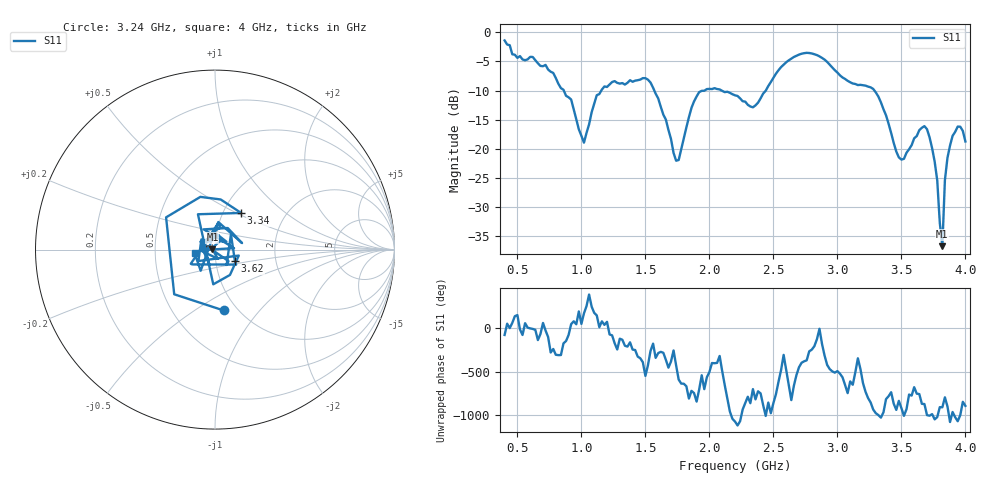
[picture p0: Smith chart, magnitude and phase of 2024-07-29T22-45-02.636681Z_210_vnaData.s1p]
!Created with skrf (http://scikit-rf.org).
# Hz S RI R 50.0
!freq ReS11 ImS11
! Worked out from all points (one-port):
!   181 points, 400 MHz to 4 GHz, reference 50 ohm
!   lowest |S11| = -36.7 dB at 3.82 GHz (marker M1), VSWR 1.03, Z = 48.6 + j0.164 ohm
!   |S11| at or under -10 dB: 1.57 GHz to 1.962 GHz (392.4 MHz wide, 22.2 % of centre); 2.096 GHz to 2.441 GHz (344.6 MHz wide, 15.2 % of centre); 3.289 GHz to end of sweep (the widest 3 of 4)
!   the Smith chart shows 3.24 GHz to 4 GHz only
!   S11 on the Smith chart (normalised r, x): 3.24 GHz: 0.86, -0.66; 3.34 GHz: 1.21, +0.53; 3.62 GHz: 1.24, -0.16; 4 GHz: 0.79, -0.03
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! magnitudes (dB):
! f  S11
! 400 MHz  -1.4
! 720 MHz  -5.6
! 860 MHz  -9.9
! 920 MHz  -11.5
! 1.02 GHz  -19.0
! 1.12 GHz  -10.8
! 1.3 GHz  -8.8
! 1.54 GHz  -8.6
! 1.76 GHz  -21.9
! 1.92 GHz  -10.3
! 2.2 GHz  -10.8
! 2.34 GHz  -12.9
! 2.66 GHz  -4.2
! 2.84 GHz  -3.9
! 3.1 GHz  -8.6
! 3.24 GHz  -9.3
! 3.34 GHz  -12.0
! 3.48 GHz  -21.5
! 3.56 GHz  -20.1
! 3.62 GHz  -17.8
! 3.68 GHz  -16.1
! 3.74 GHz  -19.9
! 3.78 GHz  -25.4
! 3.82 GHz  -36.7
! 3.84 GHz  -25.4
! 3.88 GHz  -19.5
! 3.94 GHz  -16.2
! 4 GHz  -18.8
